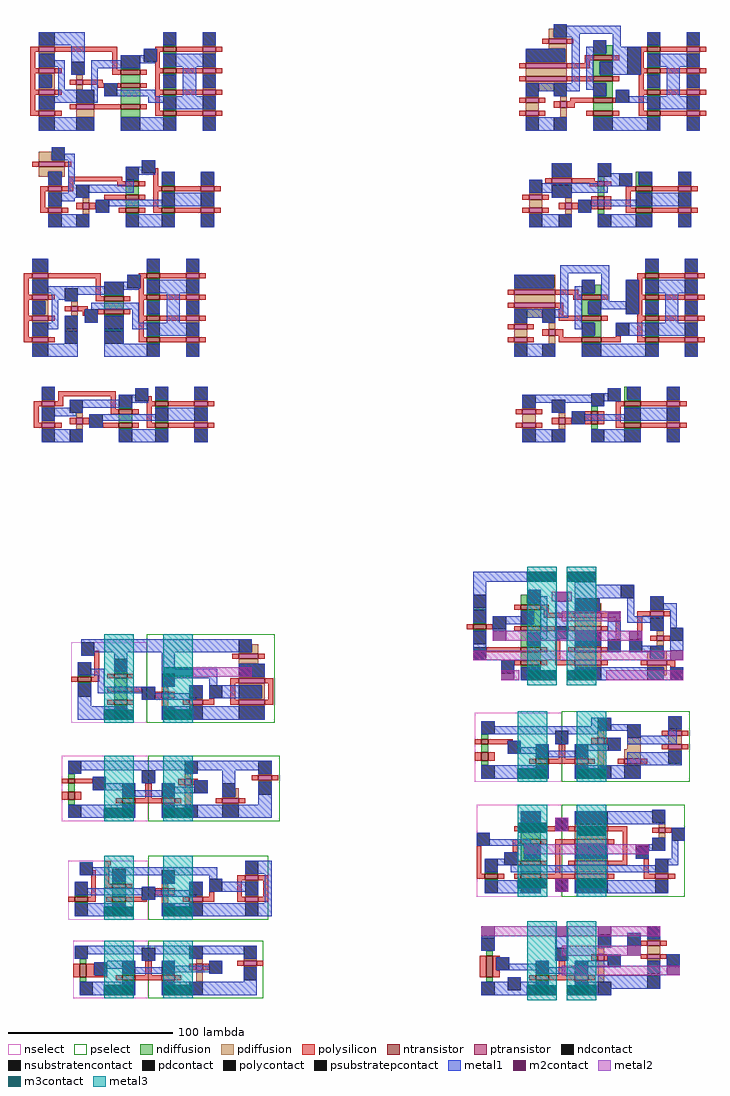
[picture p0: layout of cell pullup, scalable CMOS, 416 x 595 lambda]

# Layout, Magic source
magic
tech scmos
use m_p1inv_plo m_p1inv_plo_0
transform 1 0 -264 0 1 911
box -129 -27 -9 35
use m_p2inv_plo m_p2inv_plo_0
transform 1 0 -176 0 1 851
box 81 33 198 99
use s_p1inv_plo s_p1inv_plo_0
transform 1 0 -249 0 1 853
box -142 -28 -25 22
use s_p2inv_plo s_p2inv_plo_0
transform 1 0 -154 0 1 762
box 61 63 171 103
use m_p1inv m_p1inv_0
transform 1 0 -269 0 1 765
box -128 -19 -14 43
use m_p2inv m_p2inv_0
transform 1 0 -184 0 1 700
box 82 46 205 108
use s_p1inv s_p1inv_0
transform 1 0 -251 0 1 725
box -140 -31 -27 5
use s_p2inv s_p2inv_0
transform 1 0 -157 0 1 623
box 60 71 167 107
use m_p1_phi m_p1_phi_0
transform 1 0 -320 0 1 502
box -55 21 82 81
use m_p2_phi m_p2_phi_0
transform 1 0 -68 0 1 587
box -58 -40 75 32
use s_p1_phi s_p1_phi_0
transform 1 0 -320 0 1 441
box -61 22 82 70
use s_p2_phi s_p2_phi_0
transform 1 0 -68 0 1 439
box -61 48 85 96
use m_p1 m_p1_0
transform 1 0 -320 0 1 369
box -53 34 76 82
use m_p2 m_p2_0
transform 1 0 -68 0 1 439
box -52 -24 72 36
use s_p1 s_p1_0
transform 1 0 -320 0 1 333
box -52 22 79 58
use s_p2 s_p2_0
transform 1 0 -68 0 1 307
box -50 48 73 96
<< end >>

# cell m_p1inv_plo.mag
magic
tech scmos
<< ndiffusion >>
rect -47 25 -39 26
rect -73 11 -61 12
rect -47 21 -39 22
rect -47 12 -39 13
rect -73 3 -61 8
rect -73 -10 -61 0
rect -47 8 -39 9
rect -47 -1 -39 0
rect -73 -18 -61 -13
rect -47 -5 -39 -4
rect -47 -14 -39 -13
rect -47 -18 -39 -17
<< pdiffusion >>
rect -123 25 -113 26
rect -23 25 -15 26
rect -123 21 -113 22
rect -123 12 -113 13
rect -123 8 -113 9
rect -23 21 -15 22
rect -23 12 -15 13
rect -115 0 -113 8
rect -100 5 -96 8
rect -123 -1 -113 0
rect -100 -1 -96 2
rect -123 -5 -113 -4
rect -100 -10 -89 -9
rect -23 8 -15 9
rect -23 -1 -15 0
rect -123 -14 -113 -13
rect -123 -18 -113 -17
rect -100 -18 -89 -13
rect -23 -5 -15 -4
rect -23 -14 -15 -13
rect -23 -18 -15 -17
<< ntransistor >>
rect -47 22 -39 25
rect -73 8 -61 11
rect -47 9 -39 12
rect -73 0 -61 3
rect -47 -4 -39 -1
rect -73 -13 -61 -10
rect -47 -17 -39 -14
<< ptransistor >>
rect -123 22 -113 25
rect -123 9 -113 12
rect -23 22 -15 25
rect -23 9 -15 12
rect -100 2 -96 5
rect -123 -4 -113 -1
rect -23 -4 -15 -1
rect -100 -13 -89 -10
rect -123 -17 -113 -14
rect -23 -17 -15 -14
<< polysilicon >>
rect -128 22 -123 25
rect -113 22 -75 25
rect -52 24 -47 25
rect -128 12 -125 22
rect -128 9 -123 12
rect -113 9 -109 12
rect -128 -1 -125 9
rect -78 11 -75 22
rect -51 22 -47 24
rect -39 22 -23 25
rect -15 22 -11 25
rect -51 16 -49 22
rect -52 12 -49 16
rect -78 8 -73 11
rect -61 8 -57 11
rect -52 9 -47 12
rect -39 9 -23 12
rect -15 9 -11 12
rect -104 2 -100 5
rect -96 3 -84 5
rect -96 2 -83 3
rect -87 0 -83 2
rect -128 -4 -123 -1
rect -113 -4 -109 -1
rect -128 -14 -125 -4
rect -75 0 -73 3
rect -61 0 -57 3
rect -52 -1 -49 9
rect -52 -4 -47 -1
rect -39 -4 -23 -1
rect -15 -4 -11 -1
rect -104 -13 -100 -10
rect -89 -13 -73 -10
rect -61 -13 -57 -10
rect -128 -17 -123 -14
rect -113 -17 -109 -14
rect -52 -14 -49 -4
rect -52 -17 -47 -14
rect -39 -17 -23 -14
rect -15 -17 -11 -14
<< ndcontact >>
rect -47 26 -39 34
rect -73 12 -61 20
rect -47 13 -39 21
rect -47 0 -39 8
rect -47 -13 -39 -5
rect -73 -26 -61 -18
rect -47 -26 -39 -18
<< pdcontact >>
rect -123 26 -113 34
rect -23 26 -15 34
rect -123 13 -113 21
rect -103 8 -95 16
rect -23 13 -15 21
rect -123 0 -115 8
rect -123 -13 -113 -5
rect -100 -9 -89 -1
rect -23 0 -15 8
rect -123 -26 -113 -18
rect -100 -26 -89 -18
rect -23 -13 -15 -5
rect -23 -26 -15 -18
<< polycontact >>
rect -59 16 -51 24
rect -83 -5 -75 3
<< metal1 >>
rect -123 26 -95 34
rect -47 26 -39 34
rect -23 26 -15 34
rect -123 17 -113 21
rect -123 13 -107 17
rect -123 0 -115 8
rect -111 -1 -107 13
rect -103 8 -95 26
rect -59 20 -51 24
rect -73 17 -51 20
rect -91 16 -51 17
rect -91 15 -52 16
rect -91 12 -61 15
rect -47 13 -15 21
rect -91 -1 -87 12
rect -111 -5 -87 -1
rect -83 -1 -75 3
rect -47 0 -39 8
rect -83 -5 -52 -1
rect -35 -5 -27 13
rect -23 0 -15 8
rect -123 -9 -87 -5
rect -56 -9 -15 -5
rect -123 -13 -113 -9
rect -47 -13 -15 -9
rect -123 -26 -89 -18
rect -73 -26 -39 -18
rect -23 -26 -15 -18
<< labels >>
rlabel metal1 -69 16 -69 16 1 _x
rlabel polysilicon -74 1 -74 1 1 x
rlabel polysilicon -74 9 -74 9 1 a
rlabel metal1 -69 -22 -69 -22 1 GND!
rlabel polysilicon -74 -12 -74 -12 1 _PReset!
rlabel polysilicon -124 -15 -124 -15 5 a
rlabel polysilicon -124 -2 -124 -2 5 a
rlabel metal1 -119 -22 -119 -22 1 Vdd!
rlabel polysilicon -124 23 -124 23 1 a
rlabel polysilicon -124 10 -124 10 1 a
rlabel metal1 -119 30 -119 30 5 Vdd!
rlabel metal1 -119 4 -119 4 1 Vdd!
rlabel metal1 -118 -9 -118 -9 5 _x
rlabel metal1 -118 17 -118 17 1 _x
rlabel metal1 -94 -22 -94 -22 1 Vdd!
rlabel polysilicon -88 -12 -88 -12 1 _PReset!
rlabel metal1 -95 -5 -95 -5 1 _x
rlabel polysilicon -101 3 -101 3 1 x
rlabel pdcontact -19 -9 -19 -9 5 x
rlabel pdcontact -19 -22 -19 -22 1 Vdd!
rlabel polysilicon -14 -15 -14 -15 5 _x
rlabel polysilicon -14 -2 -14 -2 5 _x
rlabel polysilicon -48 -15 -48 -15 3 _x
rlabel polysilicon -48 -2 -48 -2 3 _x
rlabel ndcontact -43 -22 -43 -22 1 GND!
rlabel ndcontact -43 -9 -43 -9 5 x
rlabel pdcontact -19 4 -19 4 1 Vdd!
rlabel pdcontact -19 17 -19 17 1 x
rlabel pdcontact -19 30 -19 30 5 Vdd!
rlabel polysilicon -14 23 -14 23 1 _x
rlabel polysilicon -14 10 -14 10 1 _x
rlabel polysilicon -48 23 -48 23 3 _x
rlabel polysilicon -48 10 -48 10 3 _x
rlabel ndcontact -43 30 -43 30 5 GND!
rlabel ndcontact -43 4 -43 4 1 GND!
rlabel ndcontact -43 17 -43 17 1 x
rlabel metal1 -99 12 -99 12 1 Vdd!
rlabel space -15 -26 -10 34 3 ^p2
rlabel space -39 -27 -9 35 3 ^n2
rlabel space -129 -26 -123 34 7 ^p1
<< end >>

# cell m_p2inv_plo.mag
magic
tech scmos
<< ndiffusion >>
rect 135 81 139 86
rect 160 85 168 86
rect 127 80 139 81
rect 127 76 139 77
rect 127 68 131 76
rect 160 81 168 82
rect 160 72 168 73
rect 127 67 139 68
rect 127 63 139 64
rect 135 55 139 63
rect 160 68 168 69
rect 160 59 168 60
rect 127 54 139 55
rect 127 46 139 51
rect 160 55 168 56
rect 160 46 168 47
rect 127 42 139 43
rect 160 42 168 43
<< pdiffusion >>
rect 100 91 103 96
rect 100 90 111 91
rect 100 84 111 87
rect 110 76 111 84
rect 184 85 192 86
rect 86 75 111 76
rect 86 67 111 72
rect 184 81 192 82
rect 184 72 192 73
rect 86 63 111 64
rect 94 58 103 63
rect 86 54 94 55
rect 107 52 111 55
rect 184 68 192 69
rect 184 59 192 60
rect 86 46 94 51
rect 86 42 94 43
rect 107 42 111 48
rect 184 55 192 56
rect 184 46 192 47
rect 184 42 192 43
<< ntransistor >>
rect 127 77 139 80
rect 160 82 168 85
rect 160 69 168 72
rect 127 64 139 67
rect 127 51 139 54
rect 160 56 168 59
rect 127 43 139 46
rect 160 43 168 46
<< ptransistor >>
rect 100 87 111 90
rect 86 72 111 75
rect 184 82 192 85
rect 184 69 192 72
rect 86 64 111 67
rect 86 51 94 54
rect 107 48 111 52
rect 184 56 192 59
rect 86 43 94 46
rect 184 43 192 46
<< polysilicon >>
rect 96 87 100 90
rect 111 87 115 90
rect 122 77 127 80
rect 139 77 143 80
rect 122 75 125 77
rect 82 72 86 75
rect 111 72 125 75
rect 156 82 160 85
rect 168 82 184 85
rect 192 82 196 85
rect 156 72 158 82
rect 156 69 160 72
rect 168 69 184 72
rect 192 69 196 72
rect 156 68 158 69
rect 82 64 86 67
rect 111 64 127 67
rect 139 64 143 67
rect 82 51 86 54
rect 94 51 98 54
rect 155 59 158 68
rect 113 52 127 54
rect 103 48 107 52
rect 111 51 127 52
rect 139 51 141 54
rect 155 56 160 59
rect 168 56 184 59
rect 192 56 196 59
rect 111 48 116 51
rect 82 43 86 46
rect 94 43 98 46
rect 155 46 158 56
rect 123 43 127 46
rect 139 43 143 46
rect 155 43 160 46
rect 168 43 184 46
rect 192 43 196 46
<< ndcontact >>
rect 127 81 135 89
rect 160 86 168 94
rect 131 68 139 76
rect 160 73 168 81
rect 127 55 135 63
rect 160 60 168 68
rect 160 47 168 55
rect 127 34 139 42
rect 160 34 168 42
<< pdcontact >>
rect 103 91 111 99
rect 86 76 110 84
rect 184 86 192 94
rect 184 73 192 81
rect 86 55 94 63
rect 103 55 111 63
rect 184 60 192 68
rect 184 47 192 55
rect 86 34 94 42
rect 103 34 111 42
rect 184 34 192 42
<< polycontact >>
rect 148 68 156 85
rect 141 51 149 59
<< metal1 >>
rect 103 98 111 99
rect 103 93 144 98
rect 103 91 119 93
rect 86 76 110 84
rect 114 63 119 91
rect 127 85 135 89
rect 86 58 119 63
rect 123 81 135 85
rect 139 85 144 93
rect 160 86 168 94
rect 184 86 192 94
rect 123 63 127 81
rect 139 76 156 85
rect 131 68 156 76
rect 160 73 192 81
rect 123 59 135 63
rect 160 60 168 68
rect 86 55 94 58
rect 103 55 111 58
rect 127 55 135 59
rect 141 55 149 59
rect 172 55 180 73
rect 184 60 192 68
rect 141 51 192 55
rect 160 47 192 51
rect 86 34 111 42
rect 127 34 168 42
rect 184 34 192 42
<< labels >>
rlabel metal1 107 38 107 38 1 Vdd!
rlabel polysilicon 85 73 85 73 3 b
rlabel polysilicon 85 65 85 65 3 a
rlabel polysilicon 85 52 85 52 3 b
rlabel polysilicon 85 44 85 44 3 a
rlabel metal1 90 80 90 80 1 Vdd!
rlabel metal1 90 38 90 38 1 Vdd!
rlabel metal1 133 38 133 38 1 GND!
rlabel polysilicon 126 52 126 52 1 x
rlabel polysilicon 126 78 126 78 1 b
rlabel polysilicon 126 65 126 65 1 a
rlabel metal1 135 73 135 73 1 _x
rlabel polysilicon 193 83 193 83 1 _x
rlabel pdcontact 188 90 188 90 5 Vdd!
rlabel ndcontact 164 90 164 90 5 GND!
rlabel ndcontact 164 38 164 38 1 GND!
rlabel polysilicon 193 58 193 58 5 _x
rlabel polysilicon 193 45 193 45 5 _x
rlabel pdcontact 188 38 188 38 1 Vdd!
rlabel pdcontact 188 51 188 51 5 x
rlabel ndcontact 164 64 164 64 1 GND!
rlabel polysilicon 193 70 193 70 1 _x
rlabel pdcontact 188 64 188 64 1 Vdd!
rlabel pdcontact 188 77 188 77 1 x
rlabel ndcontact 164 77 164 77 1 x
rlabel ndcontact 164 51 164 51 5 x
rlabel polysilicon 126 44 126 44 1 _SReset!
rlabel polysilicon 112 49 112 49 5 x
rlabel metal1 90 59 90 59 1 _x
rlabel metal1 107 59 107 59 1 _x
rlabel metal1 107 95 107 95 5 _x
rlabel polysilicon 99 88 99 88 1 _PReset!
rlabel space 192 34 197 94 3 ^p2
rlabel space 168 33 198 95 3 ^n2
rlabel space 81 34 86 84 7 ^p1
<< end >>

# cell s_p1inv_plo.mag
magic
tech scmos
<< ndiffusion >>
rect -85 1 -77 2
rect -63 -2 -55 -1
rect -85 -7 -77 -2
rect -85 -15 -77 -10
rect -63 -6 -55 -5
rect -63 -15 -55 -14
rect -85 -19 -77 -18
rect -63 -19 -55 -18
<< pdiffusion >>
rect -138 14 -130 19
rect -138 13 -122 14
rect -138 7 -122 10
rect -138 4 -132 7
rect -124 4 -122 7
rect -132 -2 -124 -1
rect -132 -6 -124 -5
rect -39 -2 -31 -1
rect -111 -12 -107 -9
rect -132 -15 -124 -14
rect -132 -19 -124 -18
rect -111 -19 -107 -16
rect -39 -6 -31 -5
rect -39 -15 -31 -14
rect -39 -19 -31 -18
<< ntransistor >>
rect -85 -2 -77 1
rect -63 -5 -55 -2
rect -85 -10 -77 -7
rect -85 -18 -77 -15
rect -63 -18 -55 -15
<< ptransistor >>
rect -138 10 -122 13
rect -132 -5 -124 -2
rect -39 -5 -31 -2
rect -132 -18 -124 -15
rect -111 -16 -107 -12
rect -39 -18 -31 -15
<< polysilicon >>
rect -142 10 -138 13
rect -122 10 -118 13
rect -120 1 -87 4
rect -67 6 -65 9
rect -120 -2 -117 1
rect -137 -5 -132 -2
rect -124 -5 -117 -2
rect -137 -15 -134 -5
rect -90 -2 -85 1
rect -77 -2 -73 1
rect -68 -2 -65 6
rect -68 -5 -63 -2
rect -55 -5 -39 -2
rect -31 -5 -27 -2
rect -98 -10 -85 -7
rect -77 -10 -73 -7
rect -137 -18 -132 -15
rect -124 -18 -120 -15
rect -115 -16 -111 -12
rect -107 -16 -103 -12
rect -68 -15 -65 -5
rect -89 -18 -85 -15
rect -77 -18 -73 -15
rect -68 -18 -63 -15
rect -55 -18 -39 -15
rect -31 -18 -27 -15
<< ndcontact >>
rect -85 2 -77 10
rect -63 -1 -55 7
rect -63 -14 -55 -6
rect -85 -27 -77 -19
rect -63 -27 -55 -19
<< pdcontact >>
rect -130 14 -122 22
rect -132 -1 -124 7
rect -132 -14 -124 -6
rect -115 -9 -107 -1
rect -39 -1 -31 7
rect -39 -14 -31 -6
rect -132 -27 -124 -19
rect -115 -27 -107 -19
rect -39 -27 -31 -19
<< polycontact >>
rect -75 6 -67 14
rect -103 -18 -95 -10
<< metal1 >>
rect -130 18 -122 22
rect -130 14 -116 18
rect -132 -1 -124 7
rect -120 -1 -116 14
rect -75 10 -67 14
rect -85 5 -67 10
rect -85 2 -77 5
rect -85 -1 -80 2
rect -63 -1 -55 7
rect -39 -1 -31 7
rect -120 -6 -80 -1
rect -132 -9 -107 -6
rect -132 -11 -116 -9
rect -63 -10 -31 -6
rect -132 -14 -124 -11
rect -103 -14 -31 -10
rect -103 -18 -95 -14
rect -132 -27 -107 -19
rect -85 -27 -55 -19
rect -39 -27 -31 -19
<< labels >>
rlabel metal1 -111 -23 -111 -23 1 Vdd!
rlabel polysilicon -112 -15 -112 -15 1 x
rlabel metal1 -111 -5 -111 -5 1 _x
rlabel polysilicon -133 -4 -133 -4 1 a
rlabel polysilicon -133 -17 -133 -17 1 a
rlabel metal1 -128 3 -128 3 5 Vdd!
rlabel metal1 -128 -23 -128 -23 1 Vdd!
rlabel metal1 -128 -10 -128 -10 1 _x
rlabel metal1 -126 18 -126 18 1 _x
rlabel polysilicon -139 11 -139 11 3 _PReset!
rlabel space -138 -27 -132 1 7 ^p1
rlabel metal1 -81 6 -81 6 1 _x
rlabel polysilicon -86 -17 -86 -17 1 _SReset!
rlabel polysilicon -86 -9 -86 -9 1 x
rlabel polysilicon -86 -1 -86 -1 1 a
rlabel metal1 -81 -23 -81 -23 1 GND!
rlabel polysilicon -64 -4 -64 -4 3 _x
rlabel polysilicon -64 -17 -64 -17 3 _x
rlabel ndcontact -59 3 -59 3 5 GND!
rlabel ndcontact -59 -23 -59 -23 1 GND!
rlabel ndcontact -59 -10 -59 -10 1 x
rlabel polysilicon -30 -17 -30 -17 1 _x
rlabel polysilicon -30 -4 -30 -4 1 _x
rlabel pdcontact -35 3 -35 3 5 Vdd!
rlabel pdcontact -35 -10 -35 -10 1 x
rlabel pdcontact -35 -23 -35 -23 1 Vdd!
rlabel space -31 -27 -26 7 3 ^p2
rlabel space -55 -28 -25 8 3 ^n2
<< end >>

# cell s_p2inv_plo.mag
magic
tech scmos
<< ndiffusion >>
rect 108 92 112 95
rect 131 90 133 98
rect 131 89 141 90
rect 108 83 112 89
rect 131 85 141 86
rect 131 76 141 77
rect 108 72 112 75
rect 131 72 141 73
<< pdiffusion >>
rect 80 94 92 95
rect 66 84 74 85
rect 80 90 92 91
rect 157 89 165 90
rect 66 76 74 81
rect 88 79 92 82
rect 66 72 74 73
rect 88 72 92 75
rect 157 85 165 86
rect 157 76 165 77
rect 157 72 165 73
<< ntransistor >>
rect 108 89 112 92
rect 131 86 141 89
rect 108 75 112 83
rect 131 73 141 76
<< ptransistor >>
rect 80 91 92 94
rect 66 81 74 84
rect 157 86 165 89
rect 66 73 74 76
rect 88 75 92 79
rect 157 73 165 76
<< polysilicon >>
rect 76 91 80 94
rect 92 92 106 94
rect 92 91 108 92
rect 62 81 66 84
rect 74 81 78 84
rect 103 89 108 91
rect 112 89 116 92
rect 125 86 131 89
rect 141 86 157 89
rect 165 86 169 89
rect 62 73 66 76
rect 74 73 78 76
rect 84 75 88 79
rect 92 75 96 79
rect 104 75 108 83
rect 112 75 116 83
rect 125 76 128 86
rect 125 73 131 76
rect 141 73 157 76
rect 165 73 169 76
<< ndcontact >>
rect 108 95 116 103
rect 133 90 141 98
rect 131 77 141 85
rect 108 64 116 72
rect 131 64 141 72
<< pdcontact >>
rect 80 95 92 103
rect 66 85 74 93
rect 80 82 92 90
rect 157 90 165 98
rect 157 77 165 85
rect 66 64 74 72
rect 84 64 92 72
rect 157 64 165 72
<< polycontact >>
rect 121 89 129 97
rect 96 73 104 81
<< metal1 >>
rect 80 95 92 103
rect 108 97 116 103
rect 66 91 74 93
rect 108 91 129 97
rect 66 89 129 91
rect 133 90 141 98
rect 157 90 165 98
rect 66 85 114 89
rect 80 82 92 85
rect 131 81 165 85
rect 96 77 165 81
rect 96 73 104 77
rect 66 64 92 72
rect 108 64 141 72
rect 157 64 165 72
<< labels >>
rlabel polysilicon 65 82 65 82 3 b
rlabel polysilicon 65 74 65 74 3 a
rlabel polysilicon 107 76 107 76 1 x
rlabel polysilicon 87 76 87 76 1 x
rlabel metal1 88 68 88 68 1 Vdd!
rlabel metal1 70 68 70 68 1 Vdd!
rlabel metal1 112 68 112 68 1 GND!
rlabel metal1 112 98 112 98 1 _x
rlabel pdcontact 161 68 161 68 1 Vdd!
rlabel pdcontact 161 81 161 81 1 x
rlabel pdcontact 161 94 161 94 5 Vdd!
rlabel polysilicon 166 87 166 87 1 _x
rlabel polysilicon 166 74 166 74 1 _x
rlabel ndcontact 137 94 137 94 5 GND!
rlabel ndcontact 137 68 137 68 1 GND!
rlabel ndcontact 136 81 136 81 1 x
rlabel metal1 70 89 70 89 5 _x
rlabel metal1 125 93 125 93 1 _x
rlabel metal1 88 99 88 99 5 Vdd!
rlabel polysilicon 93 92 93 92 1 _PReset!
rlabel metal1 86 86 86 86 1 _x
rlabel space 61 64 66 93 7 ^p1
rlabel space 165 64 170 98 3 ^p2
rlabel space 141 63 171 99 3 ^n2
<< comment >>
<< labels >>
<< end >>

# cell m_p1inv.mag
magic
tech scmos
<< ndiffusion >>
rect -52 33 -44 34
rect -78 19 -66 20
rect -52 29 -44 30
rect -52 20 -44 21
rect -78 11 -66 16
rect -78 7 -66 8
rect -78 -2 -66 -1
rect -52 16 -44 17
rect -52 7 -44 8
rect -52 3 -44 4
rect -52 -6 -44 -5
rect -52 -10 -44 -9
<< pdiffusion >>
rect -122 33 -112 34
rect -28 33 -20 34
rect -122 29 -112 30
rect -122 20 -112 21
rect -122 16 -112 17
rect -28 29 -20 30
rect -28 20 -20 21
rect -114 8 -112 16
rect -98 13 -94 16
rect -122 7 -112 8
rect -98 7 -94 10
rect -122 3 -112 4
rect -122 -6 -112 -5
rect -102 -2 -94 -1
rect -122 -10 -112 -9
rect -28 16 -20 17
rect -28 7 -20 8
rect -28 3 -20 4
rect -28 -6 -20 -5
rect -28 -10 -20 -9
<< ntransistor >>
rect -52 30 -44 33
rect -78 16 -66 19
rect -52 17 -44 20
rect -78 8 -66 11
rect -52 4 -44 7
rect -52 -9 -44 -6
<< ptransistor >>
rect -122 30 -112 33
rect -122 17 -112 20
rect -28 30 -20 33
rect -28 17 -20 20
rect -98 10 -94 13
rect -122 4 -112 7
rect -122 -9 -112 -6
rect -28 4 -20 7
rect -28 -9 -20 -6
<< polysilicon >>
rect -127 30 -122 33
rect -112 30 -80 33
rect -57 32 -52 33
rect -127 20 -124 30
rect -127 17 -122 20
rect -112 17 -108 20
rect -127 7 -124 17
rect -83 19 -80 30
rect -56 30 -52 32
rect -44 30 -28 33
rect -20 30 -16 33
rect -56 24 -54 30
rect -57 20 -54 24
rect -83 16 -78 19
rect -66 16 -62 19
rect -57 17 -52 20
rect -44 17 -28 20
rect -20 17 -16 20
rect -102 10 -98 13
rect -94 11 -88 13
rect -94 10 -90 11
rect -91 7 -90 10
rect -127 4 -122 7
rect -112 4 -108 7
rect -127 -6 -124 4
rect -82 8 -78 11
rect -66 8 -62 11
rect -127 -9 -122 -6
rect -112 -9 -108 -6
rect -57 7 -54 17
rect -57 4 -52 7
rect -44 4 -28 7
rect -20 4 -16 7
rect -57 -6 -54 4
rect -57 -9 -52 -6
rect -44 -9 -28 -6
rect -20 -9 -16 -6
<< ndcontact >>
rect -52 34 -44 42
rect -78 20 -66 28
rect -52 21 -44 29
rect -78 -1 -66 7
rect -52 8 -44 16
rect -52 -5 -44 3
rect -52 -18 -44 -10
<< pdcontact >>
rect -122 34 -112 42
rect -28 34 -20 42
rect -122 21 -112 29
rect -102 16 -94 24
rect -28 21 -20 29
rect -122 8 -114 16
rect -122 -5 -112 3
rect -102 -1 -94 7
rect -28 8 -20 16
rect -28 -5 -20 3
rect -122 -18 -112 -10
rect -28 -18 -20 -10
<< psubstratepcontact >>
rect -78 -10 -66 -2
<< nsubstratencontact >>
rect -102 -10 -94 -2
<< polycontact >>
rect -64 24 -56 32
rect -90 3 -82 11
<< metal1 >>
rect -122 34 -112 42
rect -52 34 -44 42
rect -28 34 -20 42
rect -122 25 -112 29
rect -64 28 -56 32
rect -78 25 -56 28
rect -122 24 -56 25
rect -122 23 -57 24
rect -122 21 -66 23
rect -52 21 -20 29
rect -110 20 -66 21
rect -110 17 -94 20
rect -122 8 -114 16
rect -110 3 -106 17
rect -102 16 -94 17
rect -86 11 -57 15
rect -122 -1 -106 3
rect -122 -5 -112 -1
rect -102 -10 -94 7
rect -90 3 -82 11
rect -122 -18 -94 -10
rect -78 -10 -66 7
rect -61 3 -57 11
rect -52 8 -44 16
rect -40 3 -32 21
rect -28 8 -20 16
rect -61 -1 -20 3
rect -52 -5 -20 -1
rect -78 -18 -44 -10
rect -28 -18 -20 -10
<< labels >>
rlabel metal1 -74 -6 -74 -6 1 GND!
rlabel metal1 -74 3 -74 3 1 GND!
rlabel metal1 -98 -6 -98 -6 1 Vdd!
rlabel metal1 -98 3 -98 3 1 Vdd!
rlabel polysilicon -99 11 -99 11 1 x
rlabel metal1 -74 24 -74 24 1 _x
rlabel polysilicon -79 9 -79 9 1 x
rlabel polysilicon -79 17 -79 17 1 a
rlabel polysilicon -123 -7 -123 -7 5 a
rlabel polysilicon -123 6 -123 6 5 a
rlabel metal1 -118 -14 -118 -14 1 Vdd!
rlabel polysilicon -123 31 -123 31 1 a
rlabel polysilicon -123 18 -123 18 1 a
rlabel metal1 -118 38 -118 38 5 Vdd!
rlabel metal1 -118 12 -118 12 1 Vdd!
rlabel metal1 -117 25 -117 25 1 _x
rlabel metal1 -117 -1 -117 -1 5 _x
rlabel pdcontact -24 -1 -24 -1 5 x
rlabel pdcontact -24 -14 -24 -14 1 Vdd!
rlabel polysilicon -19 -7 -19 -7 5 _x
rlabel polysilicon -19 6 -19 6 5 _x
rlabel polysilicon -53 -7 -53 -7 3 _x
rlabel polysilicon -53 6 -53 6 3 _x
rlabel ndcontact -48 -14 -48 -14 1 GND!
rlabel ndcontact -48 -1 -48 -1 5 x
rlabel pdcontact -24 12 -24 12 1 Vdd!
rlabel pdcontact -24 25 -24 25 1 x
rlabel pdcontact -24 38 -24 38 5 Vdd!
rlabel polysilicon -19 31 -19 31 1 _x
rlabel polysilicon -19 18 -19 18 1 _x
rlabel polysilicon -53 31 -53 31 3 _x
rlabel polysilicon -53 18 -53 18 3 _x
rlabel ndcontact -48 38 -48 38 5 GND!
rlabel ndcontact -48 12 -48 12 1 GND!
rlabel ndcontact -48 25 -48 25 1 x
rlabel metal1 -98 20 -98 20 1 _x
rlabel space -128 -18 -122 42 7 ^p1
rlabel space -20 -18 -15 42 3 ^p2
rlabel space -44 -19 -14 43 3 ^n2
<< end >>

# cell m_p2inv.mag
magic
tech scmos
<< ndiffusion >>
rect 167 98 175 99
rect 136 86 140 91
rect 128 85 140 86
rect 128 81 140 82
rect 128 73 132 81
rect 167 94 175 95
rect 167 85 175 86
rect 128 72 140 73
rect 167 81 175 82
rect 167 72 175 73
rect 128 68 140 69
rect 136 60 140 68
rect 128 59 140 60
rect 167 68 175 69
rect 167 59 175 60
rect 128 55 140 56
rect 167 55 175 56
<< pdiffusion >>
rect 191 98 199 99
rect 111 89 112 97
rect 87 88 112 89
rect 87 80 112 85
rect 87 76 112 77
rect 95 71 104 76
rect 191 94 199 95
rect 191 85 199 86
rect 191 81 199 82
rect 191 72 199 73
rect 87 67 95 68
rect 108 64 112 68
rect 87 59 95 64
rect 87 55 95 56
rect 108 55 112 60
rect 191 68 199 69
rect 191 59 199 60
rect 191 55 199 56
<< ntransistor >>
rect 167 95 175 98
rect 128 82 140 85
rect 167 82 175 85
rect 128 69 140 72
rect 167 69 175 72
rect 128 56 140 59
rect 167 56 175 59
<< ptransistor >>
rect 191 95 199 98
rect 87 85 112 88
rect 87 77 112 80
rect 191 82 199 85
rect 191 69 199 72
rect 87 64 95 67
rect 108 60 112 64
rect 87 56 95 59
rect 191 56 199 59
<< polysilicon >>
rect 162 95 167 98
rect 175 95 191 98
rect 199 95 203 98
rect 162 94 165 95
rect 83 85 87 88
rect 112 85 126 88
rect 123 82 128 85
rect 140 82 144 85
rect 83 77 87 80
rect 112 77 117 80
rect 114 72 117 77
rect 163 85 165 94
rect 163 82 167 85
rect 175 82 191 85
rect 199 82 203 85
rect 163 73 165 82
rect 162 72 165 73
rect 114 69 128 72
rect 140 69 144 72
rect 162 69 167 72
rect 175 69 191 72
rect 199 69 203 72
rect 83 64 87 67
rect 95 64 99 67
rect 104 60 108 64
rect 112 60 117 64
rect 83 56 87 59
rect 95 56 99 59
rect 114 59 117 60
rect 149 59 152 60
rect 114 56 128 59
rect 140 56 152 59
rect 162 59 165 69
rect 162 56 167 59
rect 175 56 191 59
rect 199 56 203 59
<< ndcontact >>
rect 167 99 175 107
rect 128 86 136 94
rect 132 73 140 81
rect 167 86 175 94
rect 167 73 175 81
rect 128 60 136 68
rect 167 60 175 68
rect 128 47 140 55
rect 167 47 175 55
<< pdcontact >>
rect 191 99 199 107
rect 87 89 111 97
rect 87 68 95 76
rect 104 68 112 76
rect 191 86 199 94
rect 191 73 199 81
rect 191 60 199 68
rect 87 47 95 55
rect 104 47 112 55
rect 191 47 199 55
<< polycontact >>
rect 155 73 163 94
rect 149 60 157 68
<< metal1 >>
rect 115 98 145 103
rect 167 99 175 107
rect 191 99 199 107
rect 87 89 111 97
rect 115 76 120 98
rect 128 90 136 94
rect 87 71 120 76
rect 124 86 136 90
rect 87 68 95 71
rect 104 68 112 71
rect 124 68 128 86
rect 140 81 145 98
rect 155 81 163 94
rect 167 86 199 94
rect 132 76 163 81
rect 132 73 140 76
rect 155 73 163 76
rect 167 73 175 81
rect 179 68 187 86
rect 191 73 199 81
rect 124 64 136 68
rect 128 60 136 64
rect 149 60 199 68
rect 87 47 112 55
rect 128 47 175 55
rect 191 47 199 55
<< labels >>
rlabel polysilicon 127 57 127 57 1 x
rlabel polysilicon 127 83 127 83 1 b
rlabel polysilicon 127 70 127 70 1 a
rlabel metal1 108 51 108 51 1 Vdd!
rlabel polysilicon 86 86 86 86 3 b
rlabel polysilicon 86 78 86 78 3 a
rlabel polysilicon 86 65 86 65 3 b
rlabel polysilicon 86 57 86 57 3 a
rlabel metal1 91 93 91 93 1 Vdd!
rlabel metal1 91 51 91 51 1 Vdd!
rlabel metal1 91 72 91 72 1 _x
rlabel metal1 136 78 136 78 1 _x
rlabel metal1 134 51 134 51 1 GND!
rlabel ndcontact 171 51 171 51 1 GND!
rlabel polysilicon 200 71 200 71 5 _x
rlabel polysilicon 200 58 200 58 5 _x
rlabel pdcontact 195 51 195 51 1 Vdd!
rlabel pdcontact 195 64 195 64 5 x
rlabel ndcontact 171 77 171 77 1 GND!
rlabel polysilicon 200 83 200 83 1 _x
rlabel pdcontact 195 77 195 77 1 Vdd!
rlabel polysilicon 200 96 200 96 1 _x
rlabel pdcontact 195 103 195 103 5 Vdd!
rlabel pdcontact 195 90 195 90 1 x
rlabel ndcontact 171 103 171 103 5 GND!
rlabel ndcontact 171 90 171 90 1 x
rlabel ndcontact 171 64 171 64 5 x
rlabel metal1 108 72 108 72 1 _x
rlabel polysilicon 113 61 113 61 5 x
rlabel space 82 47 87 97 7 ^p1
rlabel space 199 47 204 107 3 ^p2
rlabel space 175 46 205 108 3 ^n2
<< end >>

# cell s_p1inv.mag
magic
tech scmos
<< ndiffusion >>
rect -65 -5 -57 -4
rect -87 -10 -79 -9
rect -87 -18 -79 -13
rect -65 -9 -57 -8
rect -65 -18 -57 -17
rect -87 -22 -79 -21
rect -65 -22 -57 -21
<< pdiffusion >>
rect -134 -5 -126 -4
rect -134 -9 -126 -8
rect -113 -15 -109 -12
rect -41 -5 -33 -4
rect -134 -18 -126 -17
rect -134 -22 -126 -21
rect -113 -22 -109 -19
rect -41 -9 -33 -8
rect -41 -18 -33 -17
rect -41 -22 -33 -21
<< ntransistor >>
rect -65 -8 -57 -5
rect -87 -13 -79 -10
rect -87 -21 -79 -18
rect -65 -21 -57 -18
<< ptransistor >>
rect -134 -8 -126 -5
rect -41 -8 -33 -5
rect -134 -21 -126 -18
rect -113 -19 -109 -15
rect -41 -21 -33 -18
<< polysilicon >>
rect -124 -2 -89 1
rect -124 -5 -121 -2
rect -139 -8 -134 -5
rect -126 -8 -121 -5
rect -139 -18 -136 -8
rect -92 -10 -89 -2
rect -69 -5 -67 -2
rect -70 -8 -65 -5
rect -57 -8 -41 -5
rect -33 -8 -29 -5
rect -92 -13 -87 -10
rect -79 -13 -75 -10
rect -139 -21 -134 -18
rect -126 -21 -122 -18
rect -117 -19 -113 -15
rect -109 -19 -105 -15
rect -70 -18 -67 -8
rect -97 -21 -87 -18
rect -79 -21 -75 -18
rect -70 -21 -65 -18
rect -57 -21 -41 -18
rect -33 -21 -29 -18
<< ndcontact >>
rect -87 -9 -79 -1
rect -65 -4 -57 4
rect -65 -17 -57 -9
rect -87 -30 -79 -22
rect -65 -30 -57 -22
<< pdcontact >>
rect -134 -4 -126 4
rect -134 -17 -126 -9
rect -117 -12 -109 -4
rect -41 -4 -33 4
rect -41 -17 -33 -9
rect -134 -30 -126 -22
rect -117 -30 -109 -22
rect -41 -30 -33 -22
<< polycontact >>
rect -77 -5 -69 3
rect -105 -21 -97 -13
<< metal1 >>
rect -134 -4 -126 4
rect -77 -1 -69 3
rect -87 -4 -69 -1
rect -65 -4 -57 4
rect -41 -4 -33 4
rect -117 -6 -69 -4
rect -117 -9 -79 -6
rect -134 -12 -109 -9
rect -134 -14 -113 -12
rect -65 -13 -33 -9
rect -134 -17 -126 -14
rect -105 -17 -33 -13
rect -105 -21 -97 -17
rect -134 -30 -109 -22
rect -87 -30 -57 -22
rect -41 -30 -33 -22
<< labels >>
rlabel polysilicon -88 -12 -88 -12 1 a
rlabel polysilicon -88 -20 -88 -20 1 x
rlabel metal1 -83 -5 -83 -5 1 _x
rlabel metal1 -83 -26 -83 -26 1 GND!
rlabel polysilicon -114 -18 -114 -18 1 x
rlabel metal1 -113 -8 -113 -8 1 _x
rlabel metal1 -113 -26 -113 -26 1 Vdd!
rlabel ndcontact -61 -13 -61 -13 1 x
rlabel ndcontact -61 -26 -61 -26 1 GND!
rlabel ndcontact -61 0 -61 0 5 GND!
rlabel polysilicon -66 -20 -66 -20 3 _x
rlabel polysilicon -66 -7 -66 -7 3 _x
rlabel polysilicon -32 -20 -32 -20 1 _x
rlabel polysilicon -32 -7 -32 -7 1 _x
rlabel pdcontact -37 0 -37 0 5 Vdd!
rlabel pdcontact -37 -13 -37 -13 1 x
rlabel pdcontact -37 -26 -37 -26 1 Vdd!
rlabel metal1 -130 -13 -130 -13 1 _x
rlabel metal1 -130 -26 -130 -26 1 Vdd!
rlabel metal1 -130 0 -130 0 5 Vdd!
rlabel polysilicon -135 -20 -135 -20 1 a
rlabel polysilicon -135 -7 -135 -7 1 a
rlabel space -140 -30 -134 4 7 ^p1
rlabel space -33 -30 -28 4 3 ^p2
rlabel space -57 -31 -27 5 3 ^n2
<< end >>

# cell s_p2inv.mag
magic
tech scmos
<< ndiffusion >>
rect 127 98 129 106
rect 127 97 137 98
rect 107 91 111 94
rect 127 93 137 94
rect 127 84 137 85
rect 107 80 111 83
rect 127 80 137 81
<< pdiffusion >>
rect 65 92 73 93
rect 153 97 161 98
rect 65 84 73 89
rect 87 87 91 90
rect 153 93 161 94
rect 153 84 161 85
rect 65 80 73 81
rect 87 80 91 83
rect 153 80 161 81
<< ntransistor >>
rect 127 94 137 97
rect 107 83 111 91
rect 127 81 137 84
<< ptransistor >>
rect 65 89 73 92
rect 153 94 161 97
rect 65 81 73 84
rect 87 83 91 87
rect 153 81 161 84
<< polysilicon >>
rect 61 89 65 92
rect 73 89 77 92
rect 122 94 127 97
rect 137 94 153 97
rect 161 94 165 97
rect 61 81 65 84
rect 73 81 77 84
rect 83 83 87 87
rect 91 83 95 87
rect 103 83 107 91
rect 111 83 115 91
rect 122 84 125 94
rect 122 81 127 84
rect 137 81 153 84
rect 161 81 165 84
<< ndcontact >>
rect 107 94 115 102
rect 129 98 137 106
rect 127 85 137 93
rect 107 72 115 80
rect 127 72 137 80
<< pdcontact >>
rect 65 93 73 101
rect 83 90 91 98
rect 153 98 161 106
rect 153 85 161 93
rect 65 72 73 80
rect 83 72 91 80
rect 153 72 161 80
<< polycontact >>
rect 117 97 125 105
rect 95 83 103 91
<< metal1 >>
rect 117 102 125 105
rect 107 101 125 102
rect 65 97 125 101
rect 129 98 137 106
rect 153 98 161 106
rect 65 96 115 97
rect 65 93 73 96
rect 83 90 91 96
rect 107 94 115 96
rect 95 89 103 91
rect 127 89 161 93
rect 95 85 161 89
rect 95 83 103 85
rect 65 72 91 80
rect 107 72 137 80
rect 153 72 161 80
<< labels >>
rlabel polysilicon 64 90 64 90 3 b
rlabel polysilicon 64 82 64 82 3 a
rlabel metal1 69 97 69 97 5 _x
rlabel metal1 87 94 87 94 1 _x
rlabel polysilicon 106 84 106 84 1 x
rlabel polysilicon 86 84 86 84 1 x
rlabel metal1 87 76 87 76 1 Vdd!
rlabel metal1 69 76 69 76 1 Vdd!
rlabel metal1 111 76 111 76 1 GND!
rlabel pdcontact 157 76 157 76 1 Vdd!
rlabel pdcontact 157 89 157 89 1 x
rlabel pdcontact 157 102 157 102 5 Vdd!
rlabel polysilicon 162 95 162 95 1 _x
rlabel polysilicon 162 82 162 82 1 _x
rlabel ndcontact 133 102 133 102 5 GND!
rlabel ndcontact 133 76 133 76 1 GND!
rlabel ndcontact 132 89 132 89 1 x
rlabel metal1 111 98 111 98 1 _x
rlabel space 60 72 65 101 7 ^p1
rlabel space 161 72 166 106 3 ^p2
rlabel space 137 71 167 107 3 ^n2
<< end >>

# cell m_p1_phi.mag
magic
tech scmos
<< nselect >>
rect -47 22 -1 71
<< pselect >>
rect -1 22 77 76
<< ndiffusion >>
rect -43 50 -35 51
rect -21 52 -13 53
rect -43 46 -35 47
rect -21 44 -13 49
rect -21 36 -13 41
rect -21 32 -13 33
<< pdiffusion >>
rect 63 65 67 70
rect 55 64 67 65
rect 55 58 67 61
rect 55 49 71 50
rect 8 41 12 44
rect 8 32 12 37
rect 25 36 33 37
rect 55 45 71 46
rect 69 37 71 45
rect 55 36 71 37
rect 25 32 33 33
rect 55 32 71 33
<< ntransistor >>
rect -43 47 -35 50
rect -21 49 -13 52
rect -21 41 -13 44
rect -21 33 -13 36
<< ptransistor >>
rect 55 61 67 64
rect 55 46 71 49
rect 8 37 12 41
rect 25 33 33 36
rect 55 33 71 36
<< polysilicon >>
rect -33 50 -30 66
rect 51 61 55 64
rect 67 61 71 64
rect -47 47 -43 50
rect -35 47 -30 50
rect -25 49 -21 52
rect -13 49 -9 52
rect 50 46 55 49
rect 71 46 76 49
rect -25 41 -21 44
rect -13 41 -4 44
rect 4 37 8 41
rect 12 37 16 41
rect -25 33 -21 36
rect -13 33 -9 36
rect 37 36 40 37
rect 21 33 25 36
rect 33 33 40 36
rect 50 36 53 46
rect 73 36 76 46
rect 50 33 55 36
rect 71 33 76 36
<< ndcontact >>
rect -43 51 -35 59
rect -21 53 -13 61
rect -43 38 -35 46
rect -21 24 -13 32
<< pdcontact >>
rect 55 65 63 73
rect 8 44 16 52
rect 55 50 71 58
rect 25 37 33 45
rect 55 37 69 45
rect 8 24 16 32
rect 25 24 33 32
rect 55 24 71 32
<< polycontact >>
rect -41 63 -33 71
rect -4 36 4 44
rect 37 37 45 45
<< metal1 >>
rect -41 65 63 73
rect -41 63 -33 65
rect -43 55 -35 59
rect -43 51 -27 55
rect -21 53 -13 65
rect 8 55 16 65
rect 55 56 71 58
rect -43 32 -35 46
rect -31 44 -27 51
rect 8 49 42 55
rect 63 50 71 56
rect 8 44 16 49
rect 37 45 42 49
rect -31 40 4 44
rect 25 40 33 45
rect -4 37 33 40
rect 37 37 69 45
rect -4 36 29 37
rect -43 30 -13 32
rect 8 30 71 32
rect -43 24 -27 30
rect 8 24 9 30
rect 27 24 71 30
<< m2contact >>
rect 55 50 63 56
rect -27 24 -9 30
rect 9 24 27 30
<< metal2 >>
rect 27 50 63 56
<< m3contact >>
rect 9 50 27 56
rect -27 24 -9 30
rect 9 24 27 30
<< metal3 >>
rect -27 22 -9 76
rect 9 22 27 76
<< labels >>
rlabel space 71 22 78 58 3 ^p
rlabel metal3 -27 22 -9 76 1 GND!|pin|s|0
rlabel metal3 9 22 27 76 1 Vdd!|pin|s|1
rlabel metal1 -43 24 -13 32 1 GND!|pin|s|0
rlabel metal1 -43 24 -35 46 1 GND!|pin|s|0
rlabel metal1 8 24 71 32 1 Vdd!|pin|s|1
rlabel metal1 55 50 71 58 1 Vdd!|pin|s|1
rlabel metal1 -41 65 63 73 1 x|pin|s|2
rlabel metal1 8 44 16 73 1 x|pin|s|2
rlabel metal1 37 37 69 45 1 x|pin|s|2
rlabel polysilicon 50 33 53 49 1 a|pin|w|3|poly
rlabel polysilicon 73 33 76 49 1 a|pin|w|3|poly
rlabel polysilicon -13 49 -9 52 1 a|pin|w|4|poly
rlabel polysilicon -25 49 -21 52 1 a|pin|w|4|poly
rlabel polysilicon -25 33 -21 36 1 _SReset!|pin|w|5|poly
rlabel polysilicon -13 33 -9 36 1 _SReset!|pin|w|5|poly
rlabel polysilicon 51 61 55 64 1 _PReset!|pin|w|6|poly
rlabel polysilicon 67 61 71 64 1 _PReset!|pin|w|6|poly
<< end >>

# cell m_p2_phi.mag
magic
tech scmos
<< ndiffusion >>
rect -25 10 -21 15
rect -25 9 -13 10
rect -54 6 -46 7
rect -25 5 -13 6
rect -54 -3 -46 -2
rect -17 -3 -13 5
rect -25 -4 -13 -3
rect -54 -7 -46 -6
rect -25 -8 -13 -7
rect -25 -16 -21 -8
rect -25 -17 -13 -16
rect -25 -25 -13 -20
rect -25 -29 -13 -28
<< pdiffusion >>
rect 23 5 24 10
rect 54 5 62 6
rect 8 4 24 5
rect 8 -4 24 1
rect 8 -8 24 -7
rect 54 1 62 2
rect 58 -10 62 -7
rect 8 -17 24 -16
rect 58 -16 62 -13
rect 8 -25 24 -20
rect 52 -24 54 -19
rect 62 -24 64 -19
rect 52 -25 64 -24
rect 8 -29 24 -28
rect 52 -29 64 -28
rect 62 -34 64 -29
<< ntransistor >>
rect -25 6 -13 9
rect -54 -6 -46 -3
rect -25 -7 -13 -4
rect -25 -20 -13 -17
rect -25 -28 -13 -25
<< ptransistor >>
rect 8 1 24 4
rect 8 -7 24 -4
rect 54 2 62 5
rect 8 -20 24 -17
rect 58 -13 62 -10
rect 8 -28 24 -25
rect 52 -28 64 -25
<< polysilicon >>
rect -29 6 -25 9
rect -13 6 -8 9
rect -58 -6 -54 -3
rect -46 -6 -42 -3
rect -11 4 -8 6
rect -11 1 8 4
rect 24 1 36 4
rect -29 -7 -25 -4
rect -13 -7 -4 -4
rect 4 -7 8 -4
rect 24 -7 28 -4
rect -46 -20 -25 -17
rect -13 -20 -9 -17
rect -4 -25 -1 -12
rect 33 -12 36 1
rect 46 2 54 5
rect 62 2 66 5
rect 46 -12 49 2
rect 4 -20 8 -17
rect 24 -20 28 -17
rect 54 -13 58 -10
rect 62 -13 66 -10
rect -29 -28 -25 -25
rect -13 -28 -9 -25
rect -4 -28 8 -25
rect 24 -28 28 -25
rect 48 -28 52 -25
rect 64 -28 69 -25
rect 66 -29 69 -28
<< ndcontact >>
rect -21 10 -13 18
rect -54 -2 -46 6
rect -25 -3 -17 5
rect -54 -15 -46 -7
rect -21 -16 -13 -8
rect -25 -37 -13 -29
<< pdcontact >>
rect 8 5 23 13
rect 54 6 62 14
rect 8 -16 24 -8
rect 54 -7 62 1
rect 54 -24 62 -16
rect 8 -37 24 -29
rect 52 -37 62 -29
<< psubstratepcontact >>
rect -54 7 -46 15
<< nsubstratencontact >>
rect 36 13 44 21
<< polycontact >>
rect -42 -6 -34 2
rect -4 -12 4 -4
rect -54 -25 -46 -17
rect 28 -20 36 -12
rect 41 -20 49 -12
rect 66 -13 74 -5
rect -37 -33 -29 -25
rect 66 -37 74 -29
<< metal1 >>
rect -54 23 -21 29
rect -54 -2 -46 23
rect 8 21 21 23
rect -21 14 -13 18
rect -21 10 -9 14
rect -25 2 -17 5
rect -42 -3 -17 2
rect -42 -7 -34 -3
rect -54 -19 -46 -7
rect -13 -8 -9 10
rect -21 -12 -9 -8
rect -4 -12 4 11
rect 8 13 44 21
rect 8 5 23 13
rect -21 -16 -13 -12
rect 8 -16 24 -13
rect 28 -20 36 -1
rect 40 2 44 13
rect 54 10 62 14
rect 54 6 70 10
rect 40 -2 62 2
rect 54 -7 62 -2
rect 66 -5 70 6
rect 41 -16 49 -13
rect 41 -20 62 -16
rect 54 -24 62 -20
rect 66 -19 74 -5
rect -37 -31 -29 -25
rect -25 -31 -13 -29
rect 8 -31 62 -29
rect -25 -37 -21 -31
rect 21 -37 62 -31
rect 66 -31 74 -29
<< m2contact >>
rect -21 23 -3 29
rect 3 23 21 29
rect -42 -13 -34 -7
rect -4 11 4 17
rect 28 -1 36 5
rect 8 -13 24 -7
rect -54 -25 -46 -19
rect 41 -13 49 -7
rect 66 -25 74 -19
rect -37 -37 -29 -31
rect -21 -37 -3 -31
rect 3 -37 21 -31
rect 66 -37 74 -31
<< metal2 >>
rect -6 11 6 17
rect 0 -1 36 5
rect -42 -13 49 -7
rect -54 -25 74 -19
rect -37 -37 -26 -31
rect 27 -37 74 -31
<< m3contact >>
rect -21 23 -3 29
rect 3 23 21 29
rect -21 -37 -3 -31
rect 3 -37 21 -31
<< metal3 >>
rect -21 -40 -3 32
rect 3 -40 21 32
<< labels >>
rlabel metal1 12 9 12 9 5 Vdd!
rlabel m2contact 12 -33 12 -33 1 Vdd!
rlabel polysilicon 25 -27 25 -27 1 a
rlabel polysilicon 25 -19 25 -19 1 b
rlabel polysilicon 25 -6 25 -6 1 a
rlabel polysilicon 25 2 25 2 1 b
rlabel m2contact -19 -33 -19 -33 1 GND!
rlabel polysilicon -26 -27 -26 -27 1 _SReset!
rlabel metal1 -50 2 -50 2 5 GND!
rlabel metal1 -50 11 -50 11 1 GND!
rlabel polysilicon -55 -4 -55 -4 5 x
rlabel metal2 -33 -34 -33 -34 1 _SReset!
rlabel polysilicon 63 3 63 3 1 x
rlabel metal2 70 -34 70 -34 7 _PReset!
rlabel metal1 58 -19 58 -19 1 x
rlabel polysilicon 51 -27 51 -27 3 _PReset!
rlabel metal1 56 -33 56 -33 1 Vdd!
rlabel metal1 -21 1 -21 1 1 x
rlabel metal1 58 -3 58 -3 5 Vdd!
rlabel metal1 40 17 40 17 1 Vdd!
rlabel space 23 -38 75 22 3 ^p
rlabel metal2 27 -37 27 -31 7 ^p
rlabel metal2 0 -13 0 -7 1 x
rlabel metal2 0 -1 0 5 3 b
rlabel metal2 0 11 0 17 1 a
rlabel metal2 -38 -10 -38 -10 1 x
rlabel metal2 45 -10 45 -10 1 x
rlabel metal2 32 2 32 2 1 b
<< end >>

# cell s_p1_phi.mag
magic
tech scmos
<< nselect >>
rect -53 23 0 63
<< pselect >>
rect 0 23 80 63
<< ndiffusion >>
rect -49 49 -45 52
rect -49 41 -45 46
rect -16 37 -8 38
rect -49 33 -45 36
rect -16 33 -8 34
<< pdiffusion >>
rect 22 49 26 52
rect 67 51 75 52
rect 8 37 16 38
rect 8 33 16 34
rect 22 33 26 45
rect 67 47 75 48
rect 53 38 55 43
rect 45 37 55 38
rect 45 33 55 34
<< ntransistor >>
rect -49 46 -45 49
rect -49 36 -45 41
rect -16 34 -8 37
<< ptransistor >>
rect 22 45 26 49
rect 67 48 75 51
rect 8 34 16 37
rect 45 34 55 37
<< polysilicon >>
rect -53 46 -49 49
rect -45 46 -34 49
rect -53 36 -49 41
rect -45 36 -41 41
rect -2 37 2 46
rect 18 45 22 49
rect 26 48 30 49
rect 63 48 67 51
rect 75 48 79 51
rect 26 45 28 48
rect -20 34 -16 37
rect -8 34 8 37
rect 16 34 20 37
rect 41 34 45 37
rect 55 34 59 37
<< ndcontact >>
rect -49 52 -41 60
rect -16 38 -8 46
rect -49 25 -41 33
rect -16 25 -8 33
<< pdcontact >>
rect 22 52 30 60
rect 67 52 75 60
rect 8 38 16 46
rect 8 25 16 33
rect 45 38 53 46
rect 67 39 75 47
rect 22 25 30 33
rect 45 25 55 33
<< polycontact >>
rect -34 42 -26 50
rect -4 46 4 54
rect 28 40 36 48
<< metal1 >>
rect -49 54 75 60
rect -49 52 -41 54
rect -34 46 -26 50
rect -4 46 4 54
rect 22 52 30 54
rect -34 42 -8 46
rect 8 44 16 46
rect 28 44 36 48
rect 8 42 36 44
rect -16 40 36 42
rect -16 38 16 40
rect 45 38 53 54
rect 67 52 75 54
rect 67 33 75 47
rect -49 31 -8 33
rect -49 25 -27 31
rect -9 25 -8 31
rect 8 31 75 33
rect 8 25 9 31
rect 27 25 75 31
<< m2contact >>
rect -27 25 -9 31
rect 9 25 27 31
<< m3contact >>
rect -27 25 -9 31
rect 9 25 27 31
<< metal3 >>
rect -27 23 -9 63
rect 9 23 27 63
<< labels >>
rlabel space 75 23 81 63 3 ^p
rlabel metal3 -27 23 -9 63 1 GND!|pin|s|0
rlabel metal3 9 23 27 63 1 Vdd!|pin|s|1
rlabel metal1 -49 25 -8 33 1 GND!|pin|s|0
rlabel metal1 8 25 75 33 1 Vdd!|pin|s|1
rlabel metal1 67 25 75 47 1 Vdd!|pin|s|1
rlabel metal1 -49 54 75 60 1 x|pin|s|2
rlabel metal1 45 38 53 60 1 x|pin|s|2
rlabel polysilicon 63 48 67 51 1 a|pin|w|3|poly
rlabel polysilicon 75 48 79 51 1 a|pin|w|3|poly
rlabel polysilicon -45 36 -41 41 1 _SReset!|pin|w|4|poly
rlabel polysilicon -53 36 -49 41 1 _SReset!|pin|w|4|poly
rlabel polysilicon 41 34 45 37 1 _PReset!|pin|w|5|poly
rlabel polysilicon 55 34 59 37 1 _PReset!|pin|w|5|poly
<< end >>

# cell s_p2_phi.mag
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
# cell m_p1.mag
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
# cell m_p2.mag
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
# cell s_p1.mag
magic
tech scmos
<< nselect >>
rect -46 23 0 58
<< pselect >>
rect 0 23 70 58
<< ndiffusion >>
rect -42 44 -38 47
rect -16 37 -8 38
rect -42 33 -38 36
rect -16 33 -8 34
<< pdiffusion >>
rect 29 44 33 47
rect 58 46 66 47
rect 8 37 16 38
rect 8 33 16 34
rect 29 33 33 40
rect 58 42 66 43
<< ntransistor >>
rect -42 36 -38 44
rect -16 34 -8 37
<< ptransistor >>
rect 29 40 33 44
rect 8 34 16 37
rect 58 43 66 46
<< polysilicon >>
rect -46 36 -42 44
rect -38 37 -33 44
rect -2 37 2 46
rect 25 40 29 44
rect 33 40 37 44
rect -38 36 -25 37
rect -20 34 -16 37
rect -8 34 8 37
rect 16 34 20 37
rect 54 43 58 46
rect 66 43 70 46
<< ndcontact >>
rect -45 47 -37 55
rect -16 38 -8 46
rect -42 25 -34 33
rect -16 25 -8 33
<< pdcontact >>
rect 25 47 33 55
rect 8 38 16 46
rect 58 47 66 55
rect 58 34 66 42
rect 8 25 16 33
rect 25 25 33 33
<< polycontact >>
rect -4 46 4 54
rect -33 37 -25 45
rect 37 38 45 46
<< metal1 >>
rect -45 50 66 55
rect -45 47 -37 50
rect -4 46 4 50
rect 25 47 33 50
rect 58 47 66 50
rect -25 45 -8 46
rect -33 42 -8 45
rect 8 43 16 46
rect 37 43 45 46
rect 8 42 45 43
rect -33 41 45 42
rect -33 37 -25 41
rect -16 39 45 41
rect -16 38 16 39
rect 37 38 45 39
rect 58 33 66 42
rect -42 31 -8 33
rect -42 25 -27 31
rect -9 25 -8 31
rect 8 31 66 33
rect 8 25 9 31
rect 27 25 66 31
<< m2contact >>
rect -27 25 -9 31
rect 9 25 27 31
<< m3contact >>
rect -27 25 -9 31
rect 9 25 27 31
<< metal3 >>
rect -27 23 -9 58
rect 9 23 27 58
<< labels >>
rlabel metal1 -45 50 66 55 1 x
rlabel space 66 23 71 58 3 ^p
rlabel metal3 -27 23 -9 58 1 GND!|pin|s|0
rlabel metal3 9 23 27 58 1 Vdd!|pin|s|1
rlabel metal1 -42 25 -8 33 1 GND!|pin|s|0
rlabel metal1 8 25 66 33 1 Vdd!|pin|s|1
rlabel metal1 58 25 66 42 1 Vdd!|pin|s|1
rlabel polysilicon 54 43 58 46 1 a|pin|w|3|poly
rlabel polysilicon 66 43 70 46 1 a|pin|w|3|poly
<< end >>

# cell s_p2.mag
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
